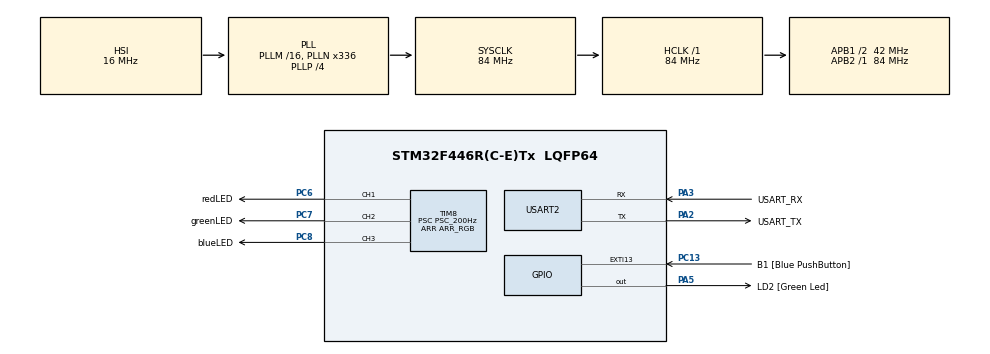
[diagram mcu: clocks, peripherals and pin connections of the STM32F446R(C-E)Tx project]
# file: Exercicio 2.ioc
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Mcu.Family=STM32F4
Mcu.Name=STM32F446R(C-E)Tx
Mcu.Package=LQFP64
Mcu.UserConstants=ARR_RGB,(255-1);PSC_5Hz,(65536-1);PSC_200Hz,(1647-1)
NVIC.PriorityGroup=NVIC_PRIORITYGROUP_0
NVIC.USART2_IRQn=true\:0\:0\:false\:false\:true\:true\:true\:true
PA13.GPIO_Label=TMS
PA13.Mode=Serial_Wire
PA13.Signal=SYS_JTMS-SWDIO
PA14.GPIO_Label=TCK
PA14.Mode=Serial_Wire
PA14.Signal=SYS_JTCK-SWCLK
PA2.GPIO_Label=USART_TX
PA2.Mode=Asynchronous
PA2.Signal=USART2_TX
PA3.GPIO_Label=USART_RX
PA3.Mode=Asynchronous
PA3.Signal=USART2_RX
PA5.GPIO_Label=LD2 [Green Led]
PA5.Signal=GPIO_Output
PB3.GPIO_Label=SWO
PB3.Signal=SYS_JTDO-SWO
PC13.GPIO_Label=B1 [Blue PushButton]
PC13.GPIO_ModeDefaultEXTI=GPIO_MODE_IT_FALLING
PC13.Signal=GPXTI13
PC14-OSC32_IN.Mode=LSE-External-Oscillator
PC14-OSC32_IN.Signal=RCC_OSC32_IN
PC15-OSC32_OUT.Mode=LSE-External-Oscillator
PC15-OSC32_OUT.Signal=RCC_OSC32_OUT
PC6.GPIO_Label=redLED
PC6.Signal=S_TIM8_CH1
PC7.GPIO_Label=greenLED
PC7.Signal=S_TIM8_CH2
PC8.GPIO_Label=blueLED
PC8.Signal=S_TIM8_CH3
PH0-OSC_IN.Mode=HSE-External-Oscillator
PH0-OSC_IN.Signal=RCC_OSC_IN
PH1-OSC_OUT.Mode=HSE-External-Oscillator
PH1-OSC_OUT.Signal=RCC_OSC_OUT
ProjectManager.HeapSize=0x200
ProjectManager.StackSize=0x400
ProjectManager.TargetToolchain=STM32CubeIDE
RCC.48MHZClocksFreq_Value=84000000
RCC.AHBFreq_Value=84000000
RCC.APB1CLKDivider=RCC_HCLK_DIV2
RCC.APB1Freq_Value=42000000
RCC.APB1TimFreq_Value=84000000
RCC.APB2Freq_Value=84000000
RCC.APB2TimFreq_Value=84000000
RCC.CortexFreq_Value=84000000
RCC.FLatency-AdvancedSettings=FLASH_LATENCY_2
RCC.HCLKFreq_Value=84000000
RCC.HSE_VALUE=8000000
RCC.HSI_VALUE=16000000
RCC.PLLN=336
RCC.PLLP=RCC_PLLP_DIV4
RCC.SYSCLKFreq_VALUE=84000000
RCC.SYSCLKSource=RCC_SYSCLKSOURCE_PLLCLK
RCC.USBFreq_Value=168000000
RCC.VCOOutputFreq_Value=336000000
SH.S_TIM8_CH1.0=TIM8_CH1,PWM Generation1 CH1
SH.S_TIM8_CH2.0=TIM8_CH2,PWM Generation2 CH2
SH.S_TIM8_CH3.0=TIM8_CH3,PWM Generation3 CH3
TIM8.AutoReloadPreload=TIM_AUTORELOAD_PRELOAD_ENABLE
TIM8.Channel-PWM\ Generation1\ CH1=TIM_CHANNEL_1
TIM8.Channel-PWM\ Generation2\ CH2=TIM_CHANNEL_2
TIM8.Channel-PWM\ Generation3\ CH3=TIM_CHANNEL_3
TIM8.Period=ARR_RGB
TIM8.Prescaler=PSC_200Hz
TIM8.Pulse-PWM\ Generation1\ CH1=0
TIM8.Pulse-PWM\ Generation2\ CH2=0
TIM8.Pulse-PWM\ Generation3\ CH3=0
USART2.VirtualMode=VM_ASYNC
board=NUCLEO-F446RE

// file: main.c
/* USER CODE BEGIN Header */
/**
  ******************************************************************************
  * @file           : main.c
  * @brief          : Main program body
  ******************************************************************************
  * @attention
  *
  * Copyright (c) 2025 STMicroelectronics.
  * All rights reserved.
  *
  * This software is licensed under terms that can be found in the LICENSE file
  * in the root directory of this software component.
  * If no LICENSE file comes with this software, it is provided AS-IS.
  *
  ******************************************************************************
  */
/* USER CODE END Header */
#include "main.h"

/* USER CODE BEGIN Includes */
#include <math.h>
/* USER CODE END Includes */

TIM_HandleTypeDef htim8;

UART_HandleTypeDef huart2;

/* USER CODE BEGIN PV */
uint8_t rxData[4], newLine[2] = {"\n\r"};	//UART receiving array and new line transmission template

uint16_t intensity = 0;	//conversion of user intensity input through serial port of 3 char digits to a decimal number

int updateDutyCycle = 0;	//data arrival flag
/* USER CODE END PV */

void SystemClock_Config(void);
static void MX_GPIO_Init(void);
static void MX_USART2_UART_Init(void);
static void MX_TIM8_Init(void);

int main(void)
{

  /* MCU Configuration--------------------------------------------------------*/

  /* Reset of all peripherals, Initializes the Flash interface and the Systick. */
  HAL_Init();

  /* Configure the system clock */
  SystemClock_Config();

  /* Initialize all configured peripherals */
  MX_GPIO_Init();
  MX_USART2_UART_Init();
  MX_TIM8_Init();

  /* Infinite loop */
  /* USER CODE BEGIN WHILE */
  while (1)
  {
	  HAL_UART_Receive_IT(&huart2, &rxData, 4);	//start reception of next bytes

	  while(!updateDutyCycle);	//wait user to type a new intensity for an LED

	  //echo
	  HAL_UART_Transmit(&huart2, rxData, 4, HAL_MAX_DELAY);
	  HAL_UART_Transmit(&huart2, newLine, 2, HAL_MAX_DELAY);

	  //convert the last three characters of rxData to the corresponding decimal number
	  //e.g: '0' '0' '3' -> 3 | '0' '5' '7' -> 57 | '1' '6' '3' -> 163
	  intensity = 0;
	  for(int i=1; i<4; i++){
		  rxData[i] -= '0';
		  intensity += rxData[i]*pow(10, 3-i);
	  }

	  if(rxData[0]=='r'){
		  HAL_TIM_PWM_Stop(&htim8, TIM_CHANNEL_1);	//stop timer to change settings
		  TIM8->CCR1 = intensity;					//change red LED's CCR (duty cycle/intensity)
		  HAL_TIM_PWM_Start(&htim8, TIM_CHANNEL_1);	//restart timer
	  }

	  else if(rxData[0]=='g'){
		  HAL_TIM_PWM_Stop(&htim8, TIM_CHANNEL_2);
		  TIM8->CCR2 = intensity;
		  HAL_TIM_PWM_Start(&htim8, TIM_CHANNEL_2);
	  }

	  else if(rxData[0]=='b'){
		  HAL_TIM_PWM_Stop(&htim8, TIM_CHANNEL_3);
		  TIM8->CCR3 = intensity;
		  HAL_TIM_PWM_Start(&htim8, TIM_CHANNEL_3);
	  }

	  updateDutyCycle = 0;	//restart flag

    /* USER CODE END WHILE */

  }
}

void SystemClock_Config(void)
{
  RCC_OscInitTypeDef RCC_OscInitStruct = {0};
  RCC_ClkInitTypeDef RCC_ClkInitStruct = {0};

  /** Configure the main internal regulator output voltage
  */
  __HAL_RCC_PWR_CLK_ENABLE();
  __HAL_PWR_VOLTAGESCALING_CONFIG(PWR_REGULATOR_VOLTAGE_SCALE3);

  /** Initializes the RCC Oscillators according to the specified parameters
  * in the RCC_OscInitTypeDef structure.
  */
  RCC_OscInitStruct.OscillatorType = RCC_OSCILLATORTYPE_HSI;
  RCC_OscInitStruct.HSIState = RCC_HSI_ON;
  RCC_OscInitStruct.HSICalibrationValue = RCC_HSICALIBRATION_DEFAULT;
  RCC_OscInitStruct.PLL.PLLState = RCC_PLL_ON;
  RCC_OscInitStruct.PLL.PLLSource = RCC_PLLSOURCE_HSI;
  RCC_OscInitStruct.PLL.PLLM = 16;
  RCC_OscInitStruct.PLL.PLLN = 336;
  RCC_OscInitStruct.PLL.PLLP = RCC_PLLP_DIV4;
  RCC_OscInitStruct.PLL.PLLQ = 2;
  RCC_OscInitStruct.PLL.PLLR = 2;
  if (HAL_RCC_OscConfig(&RCC_OscInitStruct) != HAL_OK)
  {
    Error_Handler();
  }

  /** Initializes the CPU, AHB and APB buses clocks
  */
  RCC_ClkInitStruct.ClockType = RCC_CLOCKTYPE_HCLK|RCC_CLOCKTYPE_SYSCLK
                              |RCC_CLOCKTYPE_PCLK1|RCC_CLOCKTYPE_PCLK2;
  RCC_ClkInitStruct.SYSCLKSource = RCC_SYSCLKSOURCE_PLLCLK;
  RCC_ClkInitStruct.AHBCLKDivider = RCC_SYSCLK_DIV1;
  RCC_ClkInitStruct.APB1CLKDivider = RCC_HCLK_DIV2;
  RCC_ClkInitStruct.APB2CLKDivider = RCC_HCLK_DIV1;

  if (HAL_RCC_ClockConfig(&RCC_ClkInitStruct, FLASH_LATENCY_2) != HAL_OK)
  {
    Error_Handler();
  }
}

static void MX_TIM8_Init(void)
{

  TIM_MasterConfigTypeDef sMasterConfig = {0};
  TIM_OC_InitTypeDef sConfigOC = {0};
  TIM_BreakDeadTimeConfigTypeDef sBreakDeadTimeConfig = {0};

  htim8.Instance = TIM8;
  htim8.Init.Prescaler = PSC_200Hz;
  htim8.Init.CounterMode = TIM_COUNTERMODE_UP;
  htim8.Init.Period = ARR_RGB;
  htim8.Init.ClockDivision = TIM_CLOCKDIVISION_DIV1;
  htim8.Init.RepetitionCounter = 0;
  htim8.Init.AutoReloadPreload = TIM_AUTORELOAD_PRELOAD_ENABLE;
  if (HAL_TIM_PWM_Init(&htim8) != HAL_OK)
  {
    Error_Handler();
  }
  sMasterConfig.MasterOutputTrigger = TIM_TRGO_RESET;
  sMasterConfig.MasterSlaveMode = TIM_MASTERSLAVEMODE_DISABLE;
  if (HAL_TIMEx_MasterConfigSynchronization(&htim8, &sMasterConfig) != HAL_OK)
  {
    Error_Handler();
  }
  sConfigOC.OCMode = TIM_OCMODE_PWM1;
  sConfigOC.Pulse = 0;
  sConfigOC.OCPolarity = TIM_OCPOLARITY_HIGH;
  sConfigOC.OCNPolarity = TIM_OCNPOLARITY_HIGH;
  sConfigOC.OCFastMode = TIM_OCFAST_DISABLE;
  sConfigOC.OCIdleState = TIM_OCIDLESTATE_RESET;
  sConfigOC.OCNIdleState = TIM_OCNIDLESTATE_RESET;
  if (HAL_TIM_PWM_ConfigChannel(&htim8, &sConfigOC, TIM_CHANNEL_1) != HAL_OK)
  {
    Error_Handler();
  }
  if (HAL_TIM_PWM_ConfigChannel(&htim8, &sConfigOC, TIM_CHANNEL_2) != HAL_OK)
  {
    Error_Handler();
  }
  if (HAL_TIM_PWM_ConfigChannel(&htim8, &sConfigOC, TIM_CHANNEL_3) != HAL_OK)
  {
    Error_Handler();
  }
  sBreakDeadTimeConfig.OffStateRunMode = TIM_OSSR_DISABLE;
  sBreakDeadTimeConfig.OffStateIDLEMode = TIM_OSSI_DISABLE;
  sBreakDeadTimeConfig.LockLevel = TIM_LOCKLEVEL_OFF;
  sBreakDeadTimeConfig.DeadTime = 0;
  sBreakDeadTimeConfig.BreakState = TIM_BREAK_DISABLE;
  sBreakDeadTimeConfig.BreakPolarity = TIM_BREAKPOLARITY_HIGH;
  sBreakDeadTimeConfig.AutomaticOutput = TIM_AUTOMATICOUTPUT_DISABLE;
  if (HAL_TIMEx_ConfigBreakDeadTime(&htim8, &sBreakDeadTimeConfig) != HAL_OK)
  {
    Error_Handler();
  }
  HAL_TIM_MspPostInit(&htim8);

}

static void MX_USART2_UART_Init(void)
{

  huart2.Instance = USART2;
  huart2.Init.BaudRate = 115200;
  huart2.Init.WordLength = UART_WORDLENGTH_8B;
  huart2.Init.StopBits = UART_STOPBITS_1;
  huart2.Init.Parity = UART_PARITY_NONE;
  huart2.Init.Mode = UART_MODE_TX_RX;
  huart2.Init.HwFlowCtl = UART_HWCONTROL_NONE;
  huart2.Init.OverSampling = UART_OVERSAMPLING_16;
  if (HAL_UART_Init(&huart2) != HAL_OK)
  {
    Error_Handler();
  }

}

static void MX_GPIO_Init(void)
{
  GPIO_InitTypeDef GPIO_InitStruct = {0};

  /* GPIO Ports Clock Enable */
  __HAL_RCC_GPIOC_CLK_ENABLE();
  __HAL_RCC_GPIOH_CLK_ENABLE();
  __HAL_RCC_GPIOA_CLK_ENABLE();
  __HAL_RCC_GPIOB_CLK_ENABLE();

  /*Configure GPIO pin Output Level */
  HAL_GPIO_WritePin(LD2_GPIO_Port, LD2_Pin, GPIO_PIN_RESET);

  /*Configure GPIO pin : B1_Pin */
  GPIO_InitStruct.Pin = B1_Pin;
  GPIO_InitStruct.Mode = GPIO_MODE_IT_FALLING;
  GPIO_InitStruct.Pull = GPIO_NOPULL;
  HAL_GPIO_Init(B1_GPIO_Port, &GPIO_InitStruct);

  /*Configure GPIO pin : LD2_Pin */
  GPIO_InitStruct.Pin = LD2_Pin;
  GPIO_InitStruct.Mode = GPIO_MODE_OUTPUT_PP;
  GPIO_InitStruct.Pull = GPIO_NOPULL;
  GPIO_InitStruct.Speed = GPIO_SPEED_FREQ_LOW;
  HAL_GPIO_Init(LD2_GPIO_Port, &GPIO_InitStruct);

}

/* USER CODE BEGIN 4 */
void HAL_UART_RxCpltCallback(UART_HandleTypeDef *huart){
	if (huart->Instance == USART2){
		updateDutyCycle = 1;
	}
}
/* USER CODE END 4 */

void Error_Handler(void)
{
  __disable_irq();
  while (1)
  {
  }
}
